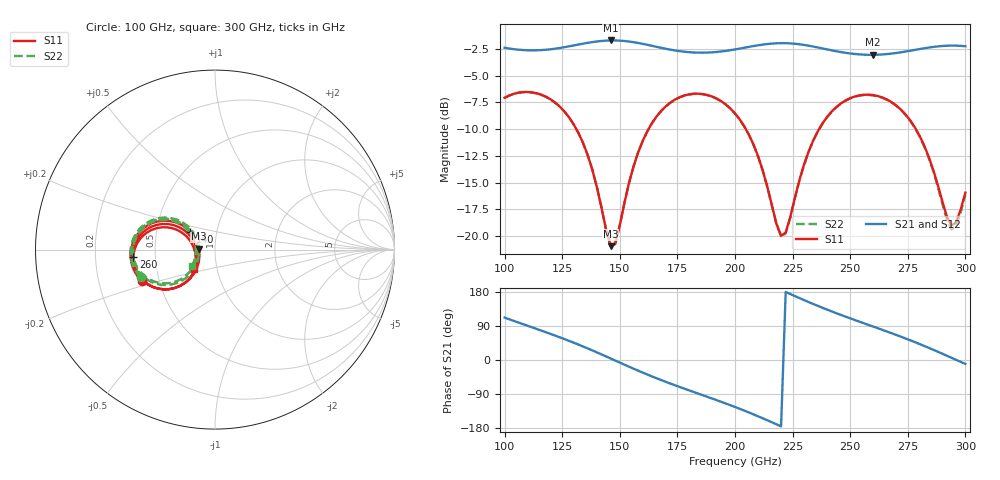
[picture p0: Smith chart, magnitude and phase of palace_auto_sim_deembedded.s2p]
! Created with skrf 1.11.0 (http://scikit-rf.org).
# GHz S DB R 50.0
!freq dBS11 angS11 dBS21 angS21 dBS12 angS12 dBS22 angS22
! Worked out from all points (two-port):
!   101 points, 100 GHz to 300 GHz, reference 50 ohm
!   highest |S21| = -1.71 dB at 146 GHz (marker M1); lowest = -3.0 dB at 260 GHz (marker M2)
!   |S21| within 3 dB of the highest: start of sweep to end of sweep
!   lowest |S11| = -20.9 dB at 146 GHz (marker M3), VSWR 1.20, Z = 41.8 + j0.43 ohm
!   |S11| at or under -10 dB: 131.1 GHz to 162.4 GHz (31.3 GHz wide, 21.3 % of centre); 204.7 GHz to 236.5 GHz (31.75 GHz wide, 14.4 % of centre); 278.5 GHz to end of sweep
!   |S22| runs from -20.8 to -6.5 dB; largest |S21 - S12| = 9.1e-14
!   S11 on the Smith chart (normalised r, x): 100 GHz: 0.40, -0.17; 140 GHz: 0.74, +0.15; 260 GHz: 0.37, -0.04; 300 GHz: 0.77, -0.17
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100  -7.07 -156.7  -2.39 112.0  -2.39 112.0  -7.08 -159.5
116  -6.78 174.8  -2.60 77.4  -2.60 77.4  -6.79 171.6
126  -8.35 157.5  -2.33 55.1  -2.33 55.1  -8.36 154.0
134  -11.26 145.7  -2.01 35.8  -2.01 35.8  -11.27 142.1
140  -15.36 144.0  -1.80 20.3  -1.80 20.3  -15.34 140.3
146  -20.93 176.7  -1.71 4.1  -1.71 4.1  -20.83 172.7
148  -20.74 -160.2  -1.71 -1.4  -1.71 -1.4  -20.65 -164.6
158  -12.15 -131.7  -1.94 -28.2  -1.94 -28.2  -12.15 -136.4
168  -8.28 -145.9  -2.39 -53.0  -2.39 -53.0  -8.29 -150.9
184  -6.68 -173.4  -2.84 -88.6  -2.84 -88.6  -6.69 -178.8
200  -8.52 160.0  -2.54 -124.0  -2.54 -124.0  -8.54 154.1
210  -12.52 148.0  -2.16 -148.5  -2.16 -148.5  -12.54 141.8
220  -19.95 -177.9  -1.96 -175.1  -1.96 -175.1  -20.02 175.6
222  -19.66 -158.6  -1.96 179.5  -1.96 179.5  -19.72 -165.0
234  -11.03 -134.0  -2.28 147.7  -2.28 147.7  -11.06 -140.7
246  -7.58 -151.7  -2.79 118.9  -2.79 118.9  -7.61 -158.8
260  -6.81 -174.8  -3.05 88.2  -3.05 88.2  -6.84 177.5
268  -7.48 172.2  -2.93 70.6  -2.93 70.6  -7.51 164.1
282  -11.47 153.4  -2.44 37.4  -2.44 37.4  -11.54 144.6
294  -19.00 -174.0  -2.19 5.8  -2.19 5.8  -19.37 177.3
296  -18.69 -157.6  -2.19 0.4  -2.19 0.4  -19.04 -165.5
300  -15.92 -137.3  -2.25 -10.4  -2.25 -10.4  -16.11 -144.7
